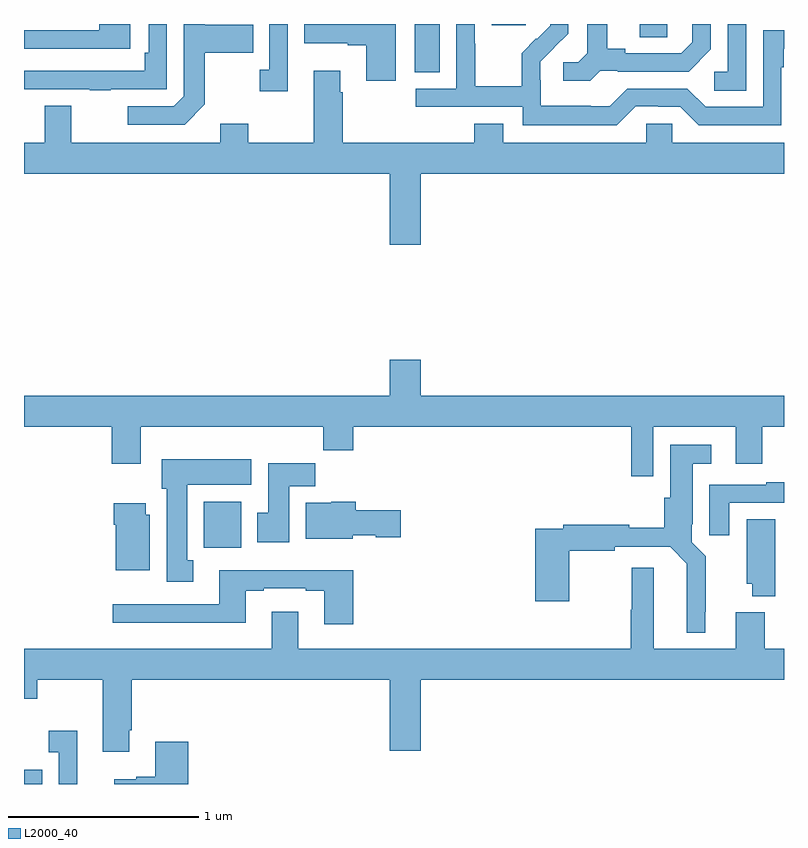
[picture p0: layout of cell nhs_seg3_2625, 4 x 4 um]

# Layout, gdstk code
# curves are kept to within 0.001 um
import gdstk
lib = gdstk.Library(unit=1e-6, precision=1e-09)
def R(c, l, rs):  # rectangles x0, y0, x1, y1
    for r in rs: c.add(gdstk.rectangle(r[:2], r[2:], *l))
def P(c, l, *ps):  # polygons
    for p in ps: c.add(gdstk.Polygon(p, *l))
L2000_40 = (2000, 40)

nhs_seg3_2625 = lib.new_cell('nhs_seg3_2625')
R(nhs_seg3_2625, L2000_40, [(247,668.4,247.097,668.475), (247.946,669.644,248.143,669.886), (249.056,672.145,249.187,672.4), (250.241,672.331,250.386,672.4), (249.461,672.393,249.64,672.4)])
P(nhs_seg3_2625, L2000_40, [(250.032,672.153),(250.126,672.153),(250.126,672.15),(250.498,672.15),(250.614,672.266),(250.614,672.4),(250.517,672.4),(250.517,672.303),(250.46,672.246),(250.165,672.246),(250.165,672.269),(250.069,672.269),(250.069,672.4),(249.965,672.4),(249.965,672.245),(249.918,672.198),(249.837,672.198),(249.837,672.101),(249.98,672.101)],
  [(250.221,671.967),(250.337,671.967),(250.337,671.964),(250.455,671.964),(250.551,671.868),(250.986,671.868),(250.986,672.173),(250.999,672.173),(251,672.366),(250.89,672.366),(250.89,671.964),(250.587,671.964),(250.491,672.06),(250.176,672.06),(250.083,671.967),(249.983,671.967),(249.983,671.971),(249.72,671.971),(249.72,672.105),(249.718,672.105),(249.718,672.202),(249.864,672.35),(249.864,672.4),(249.77,672.4),(249.77,672.392),(249.699,672.321),(249.696,672.324),(249.619,672.247),(249.619,672.073),(249.375,672.073),(249.375,672.296),(249.372,672.296),(249.372,672.4),(249.276,672.4),(249.276,672.06),(249.063,672.06),(249.063,671.964),(249.624,671.964),(249.624,671.867),(250.121,671.867)],
  [(250.8,672.4),(250.704,672.4),(250.704,672.15),(250.632,672.15),(250.632,672.049),(250.8,672.049)],
  [(248.956,672.4),(248.475,672.4),(248.475,672.299),(248.705,672.299),(248.705,672.287),(248.801,672.287),(248.801,672.102),(248.956,672.102)],
  [(247.558,672.4),(247.397,672.4),(247.397,672.366),(247,672.366),(247,672.27),(247.558,672.27)],
  [(247.457,672.057),(247.752,672.057),(247.752,672.4),(247.656,672.4),(247.656,672.25),(247.636,672.25),(247.636,672.153),(247,672.153),(247,672.057),(247.345,672.057),(247.345,672.052),(247.457,672.052)],
  [(247.951,671.977),(247.951,672.25),(248.207,672.25),(248.207,672.397),(247.951,672.397),(247.951,672.4),(247.842,672.4),(247.842,672.021),(247.788,671.967),(247.545,671.967),(247.545,671.871),(247.845,671.871)],
  [(248.388,672.4),(248.292,672.4),(248.292,672.158),(248.241,672.158),(248.241,672.045),(248.388,672.045)],
  [(249.088,671.612),(251,671.612),(251,671.776),(250.413,671.776),(250.413,671.874),(250.275,671.874),(250.275,671.776),(249.523,671.776),(249.523,671.875),(249.371,671.875),(249.371,671.776),(248.678,671.776),(248.678,672.041),(248.665,672.041),(248.665,672.154),(248.525,672.154),(248.525,671.776),(248.181,671.776),(248.181,671.875),(248.033,671.875),(248.033,671.776),(247.249,671.776),(247.249,671.971),(247.109,671.971),(247.109,671.776),(247,671.776),(247,671.612),(248.924,671.612),(248.924,671.238),(249.088,671.238)],
  [(247,670.28),(247.463,670.28),(247.463,670.086),(247.615,670.086),(247.615,670.28),(248.575,670.28),(248.575,670.156),(248.732,670.156),(248.732,670.28),(250.195,670.28),(250.195,670.02),(250.311,670.02),(250.311,670.28),(250.745,670.28),(250.745,670.086),(250.885,670.086),(250.885,670.28),(251,670.28),(251,670.444),(249.088,670.444),(249.088,670.633),(248.924,670.633),(248.924,670.444),(247,670.444)],
  [(250.585,669.307),(250.589,669.307),(250.589,669.598),(250.515,669.672),(250.515,669.766),(250.519,669.766),(250.519,670.085),(250.618,670.085),(250.618,670.186),(250.4,670.186),(250.4,669.906),(250.37,669.906),(250.37,669.749),(250.186,669.749),(250.186,669.764),(249.838,669.764),(249.838,669.744),(249.692,669.744),(249.692,669.363),(249.87,669.363),(249.87,669.628),(250.109,669.628),(250.109,669.648),(250.4,669.648),(250.488,669.56),(250.487,669.197),(250.585,669.197)],
  [(247.891,669.578),(247.858,669.578),(247.858,669.974),(248.197,669.974),(248.197,670.108),(247.724,670.108),(247.724,669.954),(247.751,669.954),(247.751,669.465),(247.891,669.465)],
  [(248.395,669.968),(248.534,669.968),(248.534,670.087),(248.285,670.087),(248.285,669.828),(248.228,669.828),(248.228,669.672),(248.395,669.672)],
  [(250.711,669.879),(251,669.879),(251,669.988),(250.907,669.988),(250.907,669.975),(250.607,669.975),(250.607,669.708),(250.711,669.708)],
  [(248.73,669.71),(248.85,669.71),(248.85,669.698),(248.983,669.698),(248.983,669.84),(248.747,669.84),(248.747,669.886),(248.616,669.886),(248.616,669.88),(248.483,669.88),(248.483,669.692),(248.73,669.692)],
  [(247.663,669.816),(247.642,669.816),(247.642,669.877),(247.472,669.877),(247.472,669.764),(247.484,669.764),(247.484,669.524),(247.663,669.524)],
  [(250.954,669.794),(250.805,669.794),(250.805,669.453),(250.832,669.453),(250.832,669.389),(250.954,669.389)],
  [(247,668.849),(247.071,668.849),(247.071,668.948),(247.415,668.948),(247.415,668.571),(247.555,668.571),(247.555,668.683),(247.568,668.683),(247.568,668.948),(248.924,668.948),(248.924,668.574),(249.088,668.574),(249.088,668.948),(251,668.948),(251,669.112),(250.898,669.112),(250.898,669.304),(250.745,669.304),(250.745,669.112),(250.315,669.112),(250.315,669.538),(250.198,669.538),(250.198,669.317),(250.193,669.317),(250.193,669.112),(248.443,669.112),(248.443,669.307),(248.303,669.307),(248.303,669.112),(247,669.112)],
  [(248.732,669.526),(248.027,669.526),(248.027,669.345),(247.467,669.345),(247.467,669.248),(248.167,669.248),(248.167,669.417),(248.263,669.417),(248.263,669.429),(248.483,669.429),(248.483,669.417),(248.579,669.417),(248.579,669.24),(248.732,669.24)],
  [(247.28,668.68),(247.131,668.68),(247.131,668.567),(247.182,668.567),(247.182,668.4),(247.28,668.4)],
  [(247.864,668.623),(247.691,668.623),(247.691,668.438),(247.592,668.438),(247.592,668.425),(247.476,668.425),(247.476,668.4),(247.864,668.4)])

lib.write_gds('nhs_seg3_2625.gds')
